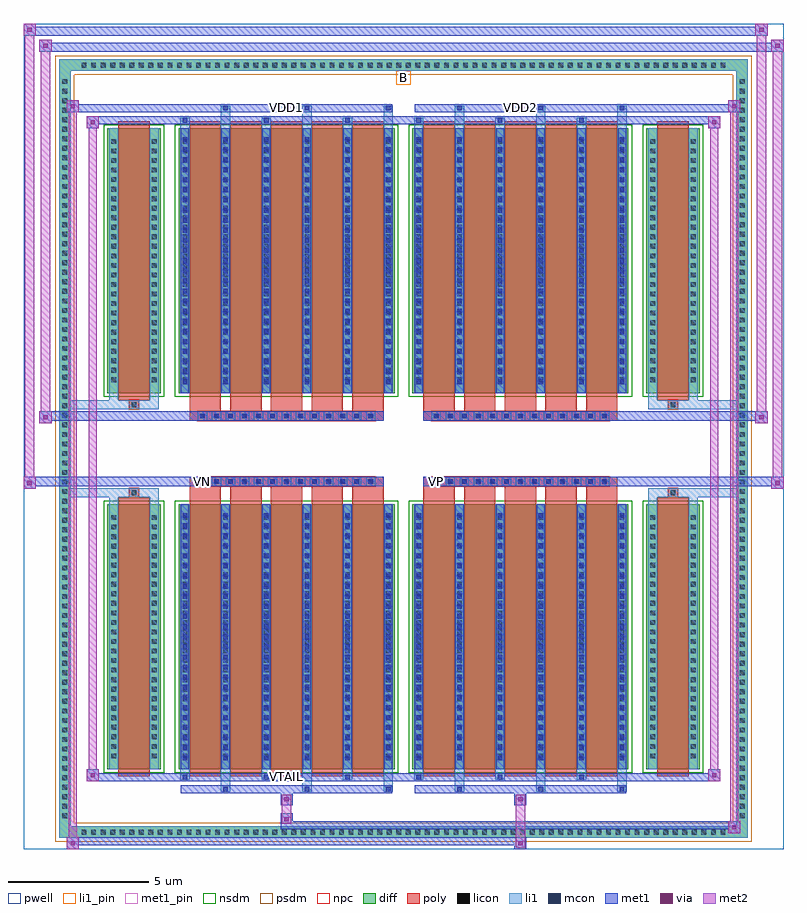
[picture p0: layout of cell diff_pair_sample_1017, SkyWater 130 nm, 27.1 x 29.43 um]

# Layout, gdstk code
import gdstk
lib = gdstk.Library(unit=1e-6, precision=5e-09)
def R(c, l, rs):  # rectangles x0, y0, x1, y1
    for r in rs: c.add(gdstk.rectangle(r[:2], r[2:], *l))
def A(c, l, x, y, w, h, nx, ny, dx, dy):  # array of equal rectangles
    R(c, l, [(x+i*dx, y+j*dy, x+i*dx+w, y+j*dy+h) for i in range(nx) for j in range(ny)])
def P(c, l, *ps):  # polygons
    for p in ps: c.add(gdstk.Polygon(p, *l))
pwell = (64, 44)
diff = (65, 20)
poly = (66, 20)
licon = (66, 44)
li1_pin = (67, 16)
li1 = (67, 20)
mcon = (67, 44)
met1_pin = (68, 16)
met1 = (68, 20)
via = (68, 44)
met2 = (69, 20)
nsdm = (93, 44)
psdm = (94, 20)
npc = (95, 20)

diff_pair_sample_1017 = lib.new_cell('diff_pair_sample_1017')
R(diff_pair_sample_1017, pwell, [(-13.55,-14.28,13.55,15.15), (-10.87,-12.47,-0.01,-0.805), (0.01,-12.47,10.87,-0.805), (-10.87,0.805,-0.01,12.47), (0.01,0.805,10.87,12.47)])
A(diff_pair_sample_1017, diff, -11.595, -13.88, 0.41, 0.41, 68, 2, 0.34, 27.35)
A(diff_pair_sample_1017, diff, -12.28, -13.295, 0.41, 0.41, 1, 78, 0, 0.34)
A(diff_pair_sample_1017, diff, 11.87, -13.295, 0.41, 0.41, 1, 78, 0, 0.34)
R(diff_pair_sample_1017, diff, [(-11.595,-13.88,11.595,-13.47), (-12.28,-13.295,-11.87,13.295), (11.87,-13.295,12.28,13.295), (-10.56,-11.425,-8.66,-1.985), (-8.02,-11.425,-0.32,-1.985), (0.32,-11.425,8.02,-1.985), (8.66,-11.425,10.56,-1.985), (-10.56,1.985,-8.66,11.425), (-8.02,1.985,-0.32,11.425), (0.32,1.985,8.02,11.425), (8.66,1.985,10.56,11.425), (-11.595,13.47,11.595,13.88)])
P(diff_pair_sample_1017, diff, [(12.28,13.88),(-12.28,13.88),(-12.28,-13.47),(-11.87,-13.47),(-11.87,13.47),(11.87,13.47),(11.87,-13.47),(-11.87,-13.47),(-12.28,-13.47),(-12.28,-13.88),(12.28,-13.88)])
A(diff_pair_sample_1017, poly, -7.63, -11.675, 1.12, 9.94, 5, 2, 1.45, 13.41)
A(diff_pair_sample_1017, poly, 0.71, -11.675, 1.12, 9.94, 5, 2, 1.45, 13.41)
A(diff_pair_sample_1017, poly, -7.63, -1.735, 1.12, 0.4, 5, 2, 1.45, 3.07)
A(diff_pair_sample_1017, poly, 0.71, -1.735, 1.12, 0.4, 5, 2, 1.45, 3.07)
A(diff_pair_sample_1017, poly, -7.335, -1.335, 0.33, 0.33, 13, 2, 0.5, 2.34)
A(diff_pair_sample_1017, poly, 1.005, -1.335, 0.33, 0.33, 13, 2, 0.5, 2.34)
R(diff_pair_sample_1017, poly, [(-10.17,-11.675,-9.05,-1.735), (9.05,-11.675,10.17,-1.735), (-9.775,-1.735,-9.445,-1.405), (-9.775,-1.735,-9.445,-1.405), (9.445,-1.735,9.775,-1.405), (9.445,-1.735,9.775,-1.405), (-7.63,-1.335,-0.71,-1.005), (0.71,-1.335,7.63,-1.005), (-7.63,1.005,-0.71,1.335), (0.71,1.005,7.63,1.335), (-9.775,1.405,-9.445,1.735), (-9.775,1.405,-9.445,1.735), (9.445,1.405,9.775,1.735), (9.445,1.405,9.775,1.735), (-10.17,1.735,-9.05,11.675), (9.05,1.735,10.17,11.675)])
A(diff_pair_sample_1017, licon, -11.475, -13.76, 0.17, 0.17, 68, 2, 0.34, 27.35)
A(diff_pair_sample_1017, licon, -12.16, -13.175, 0.17, 0.17, 1, 78, 0, 0.34)
A(diff_pair_sample_1017, licon, 11.99, -13.175, 0.17, 0.17, 1, 78, 0, 0.34)
A(diff_pair_sample_1017, licon, -10.42, -11.04, 0.17, 0.17, 1, 26, 0, 0.34)
A(diff_pair_sample_1017, licon, -8.97, -11.04, 0.17, 0.17, 1, 26, 0, 0.34)
A(diff_pair_sample_1017, licon, -7.88, -11.04, 0.17, 0.17, 6, 26, 1.45, 0.34)
A(diff_pair_sample_1017, licon, 0.46, -11.04, 0.17, 0.17, 6, 26, 1.45, 0.34)
A(diff_pair_sample_1017, licon, 8.8, -11.04, 0.17, 0.17, 1, 26, 0, 0.34)
A(diff_pair_sample_1017, licon, 10.25, -11.04, 0.17, 0.17, 1, 26, 0, 0.34)
A(diff_pair_sample_1017, licon, -7.255, -1.255, 0.17, 0.17, 13, 2, 0.5, 2.34)
A(diff_pair_sample_1017, licon, 1.085, -1.255, 0.17, 0.17, 13, 2, 0.5, 2.34)
A(diff_pair_sample_1017, licon, -10.42, 2.37, 0.17, 0.17, 1, 26, 0, 0.34)
A(diff_pair_sample_1017, licon, -8.97, 2.37, 0.17, 0.17, 1, 26, 0, 0.34)
A(diff_pair_sample_1017, licon, -7.88, 2.37, 0.17, 0.17, 6, 26, 1.45, 0.34)
A(diff_pair_sample_1017, licon, 0.46, 2.37, 0.17, 0.17, 6, 26, 1.45, 0.34)
A(diff_pair_sample_1017, licon, 8.8, 2.37, 0.17, 0.17, 1, 26, 0, 0.34)
A(diff_pair_sample_1017, licon, 10.25, 2.37, 0.17, 0.17, 1, 26, 0, 0.34)
R(diff_pair_sample_1017, licon, [(-9.695,-1.655,-9.525,-1.485), (9.525,-1.655,9.695,-1.485), (-9.695,1.485,-9.525,1.655), (9.525,1.485,9.695,1.655)])
R(diff_pair_sample_1017, li1_pin, [(-0.25,12.97,0.25,13.47)])
A(diff_pair_sample_1017, li1, -11.555, -13.84, 0.33, 0.33, 68, 2, 0.34, 27.35)
A(diff_pair_sample_1017, li1, -12.24, -13.255, 0.33, 0.33, 1, 78, 0, 0.34)
A(diff_pair_sample_1017, li1, 11.91, -13.255, 0.33, 0.33, 1, 78, 0, 0.34)
A(diff_pair_sample_1017, li1, -6.51, -12.23, 0.33, 0.805, 3, 2, 2.9, 23.655)
A(diff_pair_sample_1017, li1, -6.43, -12.23, 0.17, 0.17, 3, 2, 2.9, 24.29)
A(diff_pair_sample_1017, li1, 1.83, -12.23, 0.33, 0.805, 3, 2, 2.9, 23.655)
A(diff_pair_sample_1017, li1, 1.91, -12.23, 0.17, 0.17, 3, 2, 2.9, 24.29)
A(diff_pair_sample_1017, li1, -7.96, -11.8, 0.33, 0.375, 3, 2, 2.9, 23.225)
A(diff_pair_sample_1017, li1, -7.88, -11.8, 0.17, 0.17, 3, 2, 2.9, 23.43)
A(diff_pair_sample_1017, li1, 0.38, -11.8, 0.33, 0.375, 3, 2, 2.9, 23.225)
A(diff_pair_sample_1017, li1, 0.46, -11.8, 0.17, 0.17, 3, 2, 2.9, 23.43)
A(diff_pair_sample_1017, li1, -7.96, -11.425, 0.33, 9.44, 6, 2, 1.45, 13.41)
A(diff_pair_sample_1017, li1, 0.38, -11.425, 0.33, 9.44, 6, 2, 1.45, 13.41)
A(diff_pair_sample_1017, li1, -10.5, -11.12, 0.33, 0.33, 1, 26, 0, 0.34)
A(diff_pair_sample_1017, li1, -9.05, -11.12, 0.33, 0.33, 1, 26, 0, 0.34)
A(diff_pair_sample_1017, li1, -7.96, -11.12, 0.33, 0.33, 6, 26, 1.45, 0.34)
A(diff_pair_sample_1017, li1, 0.38, -11.12, 0.33, 0.33, 6, 26, 1.45, 0.34)
A(diff_pair_sample_1017, li1, 8.72, -11.12, 0.33, 0.33, 1, 26, 0, 0.34)
A(diff_pair_sample_1017, li1, 10.17, -11.12, 0.33, 0.33, 1, 26, 0, 0.34)
A(diff_pair_sample_1017, li1, -7.88, -11.11, 0.17, 0.17, 6, 25, 1.45, 0.36)
A(diff_pair_sample_1017, li1, -7.88, -11.11, 0.17, 8.81, 6, 2, 1.45, 13.41)
A(diff_pair_sample_1017, li1, 0.46, -11.11, 0.17, 0.17, 6, 25, 1.45, 0.36)
A(diff_pair_sample_1017, li1, 0.46, -11.11, 0.17, 8.81, 6, 2, 1.45, 13.41)
A(diff_pair_sample_1017, li1, -7.335, -1.335, 0.33, 0.33, 13, 2, 0.5, 2.34)
A(diff_pair_sample_1017, li1, 1.005, -1.335, 0.33, 0.33, 13, 2, 0.5, 2.34)
A(diff_pair_sample_1017, li1, -10.5, 2.29, 0.33, 0.33, 1, 26, 0, 0.34)
A(diff_pair_sample_1017, li1, -9.05, 2.29, 0.33, 0.33, 1, 26, 0, 0.34)
A(diff_pair_sample_1017, li1, -7.96, 2.29, 0.33, 0.33, 6, 26, 1.45, 0.34)
A(diff_pair_sample_1017, li1, 0.38, 2.29, 0.33, 0.33, 6, 26, 1.45, 0.34)
A(diff_pair_sample_1017, li1, 8.72, 2.29, 0.33, 0.33, 1, 26, 0, 0.34)
A(diff_pair_sample_1017, li1, 10.17, 2.29, 0.33, 0.33, 1, 26, 0, 0.34)
A(diff_pair_sample_1017, li1, -7.88, 2.3, 0.17, 0.17, 6, 25, 1.45, 0.36)
A(diff_pair_sample_1017, li1, 0.46, 2.3, 0.17, 0.17, 6, 25, 1.45, 0.36)
R(diff_pair_sample_1017, li1, [(-12.28,-13.88,-11.87,-13.47), (-12.28,-13.88,-11.87,-13.47), (-11.87,-13.88,11.87,-13.47), (11.87,-13.88,12.28,-13.47), (11.87,-13.88,12.28,-13.47), (-12.28,-13.47,-11.87,13.47), (11.87,-13.47,12.28,13.47), (-10.5,-11.425,-10.17,-1.985), (-9.05,-11.425,-8.72,-1.985), (8.72,-11.425,9.05,-1.985), (10.17,-11.425,10.5,-1.985), (-10.5,-1.985,-10.17,-1.405), (-9.05,-1.985,-8.72,-1.405), (8.72,-1.985,9.05,-1.405), (10.17,-1.985,10.5,-1.405), (-12.28,-1.735,-9.775,-1.405), (-10.5,-1.735,-9.775,-1.405), (-9.775,-1.735,-9.445,-1.405), (-9.445,-1.735,-8.72,-1.405), (8.72,-1.735,9.445,-1.405), (9.445,-1.735,9.775,-1.405), (9.445,-1.735,12.28,-1.405), (9.775,-1.735,10.5,-1.405), (-12.28,1.405,-9.775,1.735), (-10.5,1.405,-9.775,1.735), (-10.5,1.405,-10.17,1.985), (-9.775,1.405,-9.445,1.735), (-9.445,1.405,-8.72,1.735), (-9.05,1.405,-8.72,1.985), (8.72,1.405,9.445,1.735), (8.72,1.405,9.05,1.985), (9.445,1.405,9.775,1.735), (9.445,1.405,12.28,1.735), (9.775,1.405,10.5,1.735), (10.17,1.405,10.5,1.985), (-10.5,1.985,-10.17,11.425), (-9.05,1.985,-8.72,11.425), (8.72,1.985,9.05,11.425), (10.17,1.985,10.5,11.425), (-12.28,13.47,-11.87,13.88), (-12.28,13.47,-11.87,13.88), (-11.87,13.47,11.87,13.88), (11.87,13.47,12.28,13.88), (11.87,13.47,12.28,13.88)])
A(diff_pair_sample_1017, mcon, -6.43, -12.23, 0.17, 0.17, 3, 2, 2.9, 24.29)
A(diff_pair_sample_1017, mcon, 1.91, -12.23, 0.17, 0.17, 3, 2, 2.9, 24.29)
A(diff_pair_sample_1017, mcon, -7.88, -11.8, 0.17, 0.17, 3, 2, 2.9, 23.43)
A(diff_pair_sample_1017, mcon, 0.46, -11.8, 0.17, 0.17, 3, 2, 2.9, 23.43)
A(diff_pair_sample_1017, mcon, -7.88, -11.11, 0.17, 0.17, 6, 25, 1.45, 0.36)
A(diff_pair_sample_1017, mcon, 0.46, -11.11, 0.17, 0.17, 6, 25, 1.45, 0.36)
A(diff_pair_sample_1017, mcon, -7.255, -1.255, 0.17, 0.17, 13, 2, 0.5, 2.34)
A(diff_pair_sample_1017, mcon, 1.085, -1.255, 0.17, 0.17, 13, 2, 0.5, 2.34)
A(diff_pair_sample_1017, mcon, -7.88, 2.3, 0.17, 0.17, 6, 25, 1.45, 0.36)
A(diff_pair_sample_1017, mcon, 0.46, 2.3, 0.17, 0.17, 6, 25, 1.45, 0.36)
R(diff_pair_sample_1017, met1_pin, [(-4.305,-11.84,-4.035,-11.57), (-7.305,-1.295,-7.035,-1.025), (1.035,-1.295,1.305,-1.025), (-4.305,12.02,-4.035,12.29), (4.035,12.02,4.305,12.29)])
A(diff_pair_sample_1017, met1, -6.49, -12.29, 0.29, 0.29, 3, 2, 2.9, 24.29)
A(diff_pair_sample_1017, met1, 1.85, -12.29, 0.29, 0.29, 3, 2, 2.9, 24.29)
A(diff_pair_sample_1017, met1, -7.94, -11.86, 0.29, 0.29, 3, 2, 2.9, 23.43)
A(diff_pair_sample_1017, met1, 0.4, -11.86, 0.29, 0.29, 3, 2, 2.9, 23.43)
A(diff_pair_sample_1017, met1, -7.94, -11.425, 0.29, 9.44, 6, 2, 1.45, 13.41)
A(diff_pair_sample_1017, met1, 0.4, -11.425, 0.29, 9.44, 6, 2, 1.45, 13.41)
A(diff_pair_sample_1017, met1, -7.94, -11.17, 0.29, 0.29, 6, 25, 1.45, 0.36)
A(diff_pair_sample_1017, met1, 0.4, -11.17, 0.29, 0.29, 6, 25, 1.45, 0.36)
A(diff_pair_sample_1017, met1, -7.315, -1.315, 0.29, 0.29, 13, 2, 0.5, 2.34)
A(diff_pair_sample_1017, met1, 1.025, -1.315, 0.29, 0.29, 13, 2, 0.5, 2.34)
A(diff_pair_sample_1017, met1, -7.94, 2.24, 0.29, 0.29, 6, 25, 1.45, 0.36)
A(diff_pair_sample_1017, met1, 0.4, 2.24, 0.29, 0.29, 6, 25, 1.45, 0.36)
R(diff_pair_sample_1017, met1, [(-12.01,-14.28,-11.58,-13.85), (3.955,-14.28,4.385,-13.85), (-12.01,-14.14,4.385,-13.85), (11.58,-13.71,12.01,-13.28), (-4.385,-13.57,12.01,-13.28), (-4.385,-13.43,-3.955,-13), (-4.385,-12.72,-3.955,-12.29), (3.955,-12.72,4.385,-12.29), (-7.94,-12.29,-0.4,-12), (0.4,-12.29,7.94,-12), (-11.3,-11.86,-10.87,-11.43), (-11.3,-11.86,-7.94,-11.57), (-7.94,-11.86,-0.4,-11.57), (-0.4,-11.86,0.4,-11.57), (0.4,-11.86,7.94,-11.57), (7.94,-11.86,11.3,-11.57), (10.87,-11.86,11.3,-11.43), (-13.55,-1.435,-13.12,-1.005), (13.12,-1.435,13.55,-1.005), (-13.55,-1.335,-0.71,-1.005), (-7.63,-1.335,-0.71,-1.005), (0.71,-1.335,7.63,-1.005), (0.71,-1.335,13.55,-1.005), (-12.98,0.905,-12.55,1.335), (12.55,0.905,12.98,1.335), (-12.98,1.005,-7.63,1.335), (-7.63,1.005,-0.71,1.335), (0.71,1.005,7.63,1.335), (7.63,1.005,12.98,1.335), (-11.3,11.43,-10.87,11.86), (10.87,11.43,11.3,11.86), (-11.3,11.57,-7.94,11.86), (-7.94,11.57,-0.4,11.86), (-0.4,11.57,0.4,11.86), (0.4,11.57,7.94,11.86), (7.94,11.57,11.3,11.86), (-12.01,12,-11.58,12.43), (-12.01,12,-7.94,12.29), (-7.94,12,-0.4,12.29), (0.4,12,7.94,12.29), (7.94,12,12.01,12.29), (11.58,12,12.01,12.43), (-12.98,14.15,-12.55,14.58), (-12.98,14.15,-10.87,14.48), (-10.87,14.15,10.87,14.48), (10.87,14.15,13.55,14.48), (13.12,14.15,13.55,14.58), (-13.55,14.72,-13.12,15.15), (-13.55,14.72,-10.87,15.05), (-10.87,14.72,10.87,15.05), (10.87,14.72,12.98,15.05), (12.55,14.72,12.98,15.15)])
R(diff_pair_sample_1017, via, [(-11.87,-14.14,-11.72,-13.99), (4.095,-14.14,4.245,-13.99), (11.72,-13.57,11.87,-13.42), (-4.245,-13.29,-4.095,-13.14), (-4.245,-12.58,-4.095,-12.43), (4.095,-12.58,4.245,-12.43), (-11.16,-11.72,-11.01,-11.57), (11.01,-11.72,11.16,-11.57), (-13.41,-1.295,-13.26,-1.145), (13.26,-1.295,13.41,-1.145), (-12.84,1.045,-12.69,1.195), (12.69,1.045,12.84,1.195), (-11.16,11.57,-11.01,11.72), (11.01,11.57,11.16,11.72), (-11.87,12.14,-11.72,12.29), (11.72,12.14,11.87,12.29), (-12.84,14.29,-12.69,14.44), (13.26,14.29,13.41,14.44), (-13.41,14.86,-13.26,15.01), (12.69,14.86,12.84,15.01)])
R(diff_pair_sample_1017, met2, [(-12.01,-14.28,-11.58,-13.85), (-11.94,-14.28,-11.65,12.43), (-11.65,-14.28,-11.58,-13.85), (-11.96,-14.23,-11.63,-13.9), (4.005,-14.23,4.335,-13.9), (4.005,-13.9,4.335,-12.67), (11.58,-13.71,12.01,-13.28), (11.65,-13.71,11.94,12.43), (11.94,-13.71,12.01,-13.28), (11.63,-13.66,11.96,-13.33), (-4.335,-13.38,-4.005,-13.05), (-4.335,-13.05,-4.005,-12.67), (-4.335,-12.67,-4.005,-12.34), (4.005,-12.67,4.335,-12.34), (-11.3,-11.86,-10.87,-11.43), (-11.23,-11.86,-10.94,11.86), (-10.94,-11.86,-10.87,-11.43), (10.87,-11.86,11.3,-11.43), (10.94,-11.86,11.23,11.86), (11.23,-11.86,11.3,-11.43), (-11.25,-11.81,-10.92,-11.48), (10.92,-11.81,11.25,-11.48), (-13.55,-1.435,-13.12,-1.005), (-13.5,-1.435,-13.17,15.15), (-13.17,-1.435,-13.12,-1.005), (13.12,-1.435,13.55,-1.005), (13.17,-1.435,13.5,14.58), (13.5,-1.435,13.55,-1.005), (-13.5,-1.385,-13.17,-1.055), (13.17,-1.385,13.5,-1.055), (-12.98,0.905,-12.55,1.335), (-12.93,0.905,-12.6,14.58), (-12.6,0.905,-12.55,1.335), (12.55,0.905,12.98,1.335), (12.6,0.905,12.93,15.15), (12.93,0.905,12.98,1.335), (-12.93,0.955,-12.6,1.285), (12.6,0.955,12.93,1.285), (-11.3,11.43,-10.87,11.86), (-10.94,11.43,-10.87,11.86), (10.87,11.43,11.3,11.86), (11.23,11.43,11.3,11.86), (-11.25,11.48,-10.92,11.81), (10.92,11.48,11.25,11.81), (-12.01,12,-11.58,12.43), (-11.65,12,-11.58,12.43), (11.58,12,12.01,12.43), (11.94,12,12.01,12.43), (-11.96,12.05,-11.63,12.38), (11.63,12.05,11.96,12.38), (-12.98,14.15,-12.55,14.58), (-12.6,14.15,-12.55,14.58), (13.12,14.15,13.55,14.58), (13.5,14.15,13.55,14.58), (-12.93,14.2,-12.6,14.53), (13.17,14.2,13.5,14.53), (-13.55,14.72,-13.12,15.15), (-13.17,14.72,-13.12,15.15), (12.55,14.72,12.98,15.15), (12.93,14.72,12.98,15.15), (-13.5,14.77,-13.17,15.1), (12.6,14.77,12.93,15.1)])
R(diff_pair_sample_1017, nsdm, [(-10.69,-11.555,-8.53,-1.855), (-8.15,-11.555,-0.19,-1.855), (0.19,-11.555,8.15,-1.855), (8.53,-11.555,10.69,-1.855), (-10.69,1.855,-8.53,11.555), (-8.15,1.855,-0.19,11.555), (0.19,1.855,8.15,11.555), (8.53,1.855,10.69,11.555)])
P(diff_pair_sample_1017, psdm, [(12.41,14.01),(-12.41,14.01),(-12.41,-13.34),(-11.74,-13.34),(-11.74,13.34),(11.74,13.34),(11.74,-13.34),(-11.74,-13.34),(-12.41,-13.34),(-12.41,-14.01),(12.41,-14.01)])
A(diff_pair_sample_1017, npc, -7.355, -1.355, 0.37, 0.37, 13, 2, 0.5, 2.34)
A(diff_pair_sample_1017, npc, 0.985, -1.355, 0.37, 0.37, 13, 2, 0.5, 2.34)
R(diff_pair_sample_1017, npc, [(-9.795,-1.755,-9.425,-1.385), (9.425,-1.755,9.795,-1.385), (-7.355,-1.355,-6.485,-0.985), (-7.355,-1.355,-6.485,-0.985), (-6.855,-1.355,-5.985,-0.985), (-6.855,-1.355,-5.985,-0.985), (-6.355,-1.355,-5.485,-0.985), (-6.355,-1.355,-5.485,-0.985), (-5.855,-1.355,-4.985,-0.985), (-5.855,-1.355,-4.985,-0.985), (-5.355,-1.355,-4.485,-0.985), (-5.355,-1.355,-4.485,-0.985), (-4.855,-1.355,-3.985,-0.985), (-4.855,-1.355,-3.985,-0.985), (-4.355,-1.355,-3.485,-0.985), (-4.355,-1.355,-3.485,-0.985), (-3.855,-1.355,-2.985,-0.985), (-3.855,-1.355,-2.985,-0.985), (-3.355,-1.355,-2.485,-0.985), (-3.355,-1.355,-2.485,-0.985), (-2.855,-1.355,-1.985,-0.985), (-2.855,-1.355,-1.985,-0.985), (-2.355,-1.355,-1.485,-0.985), (-2.355,-1.355,-1.485,-0.985), (-1.855,-1.355,-0.985,-0.985), (-1.855,-1.355,-0.985,-0.985), (0.985,-1.355,1.855,-0.985), (0.985,-1.355,1.855,-0.985), (1.485,-1.355,2.355,-0.985), (1.485,-1.355,2.355,-0.985), (1.985,-1.355,2.855,-0.985), (1.985,-1.355,2.855,-0.985), (2.485,-1.355,3.355,-0.985), (2.485,-1.355,3.355,-0.985), (2.985,-1.355,3.855,-0.985), (2.985,-1.355,3.855,-0.985), (3.485,-1.355,4.355,-0.985), (3.485,-1.355,4.355,-0.985), (3.985,-1.355,4.855,-0.985), (3.985,-1.355,4.855,-0.985), (4.485,-1.355,5.355,-0.985), (4.485,-1.355,5.355,-0.985), (4.985,-1.355,5.855,-0.985), (4.985,-1.355,5.855,-0.985), (5.485,-1.355,6.355,-0.985), (5.485,-1.355,6.355,-0.985), (5.985,-1.355,6.855,-0.985), (5.985,-1.355,6.855,-0.985), (6.485,-1.355,7.355,-0.985), (6.485,-1.355,7.355,-0.985), (-7.355,0.985,-6.485,1.355), (-7.355,0.985,-6.485,1.355), (-6.855,0.985,-5.985,1.355), (-6.855,0.985,-5.985,1.355), (-6.355,0.985,-5.485,1.355), (-6.355,0.985,-5.485,1.355), (-5.855,0.985,-4.985,1.355), (-5.855,0.985,-4.985,1.355), (-5.355,0.985,-4.485,1.355), (-5.355,0.985,-4.485,1.355), (-4.855,0.985,-3.985,1.355), (-4.855,0.985,-3.985,1.355), (-4.355,0.985,-3.485,1.355), (-4.355,0.985,-3.485,1.355), (-3.855,0.985,-2.985,1.355), (-3.855,0.985,-2.985,1.355), (-3.355,0.985,-2.485,1.355), (-3.355,0.985,-2.485,1.355), (-2.855,0.985,-1.985,1.355), (-2.855,0.985,-1.985,1.355), (-2.355,0.985,-1.485,1.355), (-2.355,0.985,-1.485,1.355), (-1.855,0.985,-0.985,1.355), (-1.855,0.985,-0.985,1.355), (0.985,0.985,1.855,1.355), (0.985,0.985,1.855,1.355), (1.485,0.985,2.355,1.355), (1.485,0.985,2.355,1.355), (1.985,0.985,2.855,1.355), (1.985,0.985,2.855,1.355), (2.485,0.985,3.355,1.355), (2.485,0.985,3.355,1.355), (2.985,0.985,3.855,1.355), (2.985,0.985,3.855,1.355), (3.485,0.985,4.355,1.355), (3.485,0.985,4.355,1.355), (3.985,0.985,4.855,1.355), (3.985,0.985,4.855,1.355), (4.485,0.985,5.355,1.355), (4.485,0.985,5.355,1.355), (4.985,0.985,5.855,1.355), (4.985,0.985,5.855,1.355), (5.485,0.985,6.355,1.355), (5.485,0.985,6.355,1.355), (5.985,0.985,6.855,1.355), (5.985,0.985,6.855,1.355), (6.485,0.985,7.355,1.355), (6.485,0.985,7.355,1.355), (-9.795,1.385,-9.425,1.755), (9.425,1.385,9.795,1.755)])
diff_pair_sample_1017.add(gdstk.Label('VTAIL', (-4.17,-11.705), layer=68, texttype=5))
diff_pair_sample_1017.add(gdstk.Label('VN', (-7.17,-1.16), layer=68, texttype=5))
diff_pair_sample_1017.add(gdstk.Label('VP', (1.17,-1.16), layer=68, texttype=5))
diff_pair_sample_1017.add(gdstk.Label('B', (0,13.22), layer=67, texttype=5))
diff_pair_sample_1017.add(gdstk.Label('VDD2', (4.17,12.155), layer=68, texttype=5))
diff_pair_sample_1017.add(gdstk.Label('VDD1', (-4.17,12.155), layer=68, texttype=5))

lib.write_gds('diff_pair_sample_1017.gds')
